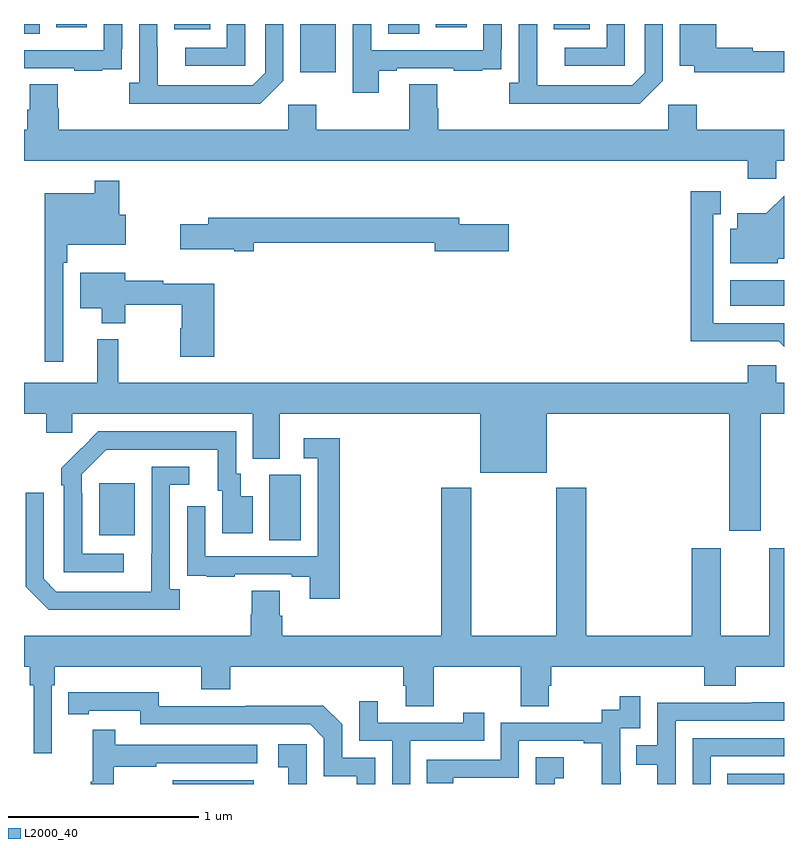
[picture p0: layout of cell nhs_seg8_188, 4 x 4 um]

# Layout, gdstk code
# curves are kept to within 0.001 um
import gdstk
lib = gdstk.Library(unit=1e-6, precision=1e-09)
def R(c, l, rs):  # rectangles x0, y0, x1, y1
    for r in rs: c.add(gdstk.rectangle(r[:2], r[2:], *l))
def P(c, l, *ps):  # polygons
    for p in ps: c.add(gdstk.Polygon(p, *l))
L2000_40 = (2000, 40)

nhs_seg8_188 = lib.new_cell('nhs_seg8_188')
R(nhs_seg8_188, L2000_40, [(123.783,1099.9,124.21,1099.921), (126.7,1099.9,127,1099.954), (124.292,1101.184,124.456,1101.528), (123.395,1101.209,123.583,1101.484), (126.716,1102.418,127,1102.552), (123,1103.848,123.082,1103.9), (124.916,1103.848,125.08,1103.9), (123.791,1103.873,123.979,1103.9), (125.789,1103.873,125.977,1103.9), (123.17,1103.883,123.331,1103.9), (125.168,1103.883,125.329,1103.9)])
P(nhs_seg8_188, L2000_40, [(126.363,1103.601),(126.363,1103.9),(126.267,1103.9),(126.267,1103.643),(126.201,1103.577),(125.701,1103.577),(125.7,1103.9),(125.604,1103.9),(125.604,1103.59),(125.553,1103.59),(125.553,1103.48),(126.242,1103.48)],
  [(124.164,1103.9),(124.068,1103.9),(124.068,1103.775),(123.849,1103.775),(123.849,1103.679),(124.164,1103.679)],
  [(127,1103.756),(126.836,1103.756),(126.836,1103.774),(126.644,1103.774),(126.644,1103.9),(126.452,1103.9),(126.452,1103.681),(126.528,1103.681),(126.528,1103.646),(127,1103.646)],
  [(124.642,1103.885),(124.641,1103.885),(124.641,1103.9),(124.454,1103.9),(124.454,1103.645),(124.642,1103.645)],
  [(124.365,1103.601),(124.365,1103.9),(124.269,1103.9),(124.269,1103.643),(124.203,1103.577),(123.703,1103.577),(123.702,1103.9),(123.606,1103.9),(123.606,1103.59),(123.555,1103.59),(123.555,1103.48),(124.244,1103.48)],
  [(123.413,1103.661),(123.515,1103.661),(123.515,1103.77),(123.516,1103.77),(123.516,1103.9),(123.42,1103.9),(123.42,1103.763),(123,1103.763),(123,1103.667),(123.265,1103.667),(123.265,1103.655),(123.413,1103.655)],
  [(124.867,1103.655),(124.963,1103.655),(124.963,1103.667),(125.263,1103.667),(125.263,1103.655),(125.411,1103.655),(125.411,1103.661),(125.513,1103.661),(125.513,1103.77),(125.514,1103.77),(125.514,1103.9),(125.418,1103.9),(125.418,1103.763),(124.827,1103.763),(124.827,1103.9),(124.731,1103.9),(124.731,1103.538),(124.867,1103.538)],
  [(126.162,1103.9),(126.066,1103.9),(126.066,1103.775),(125.847,1103.775),(125.847,1103.679),(126.162,1103.679)],
  [(126.96,1103.18),(127,1103.18),(127,1103.344),(126.542,1103.344),(126.542,1103.476),(126.39,1103.476),(126.39,1103.344),(125.18,1103.344),(125.18,1103.457),(125.175,1103.457),(125.175,1103.582),(125.027,1103.582),(125.027,1103.344),(124.539,1103.344),(124.539,1103.476),(124.392,1103.476),(124.392,1103.344),(123.182,1103.344),(123.182,1103.457),(123.177,1103.457),(123.177,1103.582),(123.029,1103.582),(123.029,1103.45),(123.017,1103.45),(123.017,1103.344),(123,1103.344),(123,1103.18),(126.809,1103.18),(126.809,1103.085),(126.96,1103.085)],
  [(123.207,1102.643),(123.227,1102.643),(123.227,1102.739),(123.535,1102.739),(123.535,1102.897),(123.5,1102.897),(123.5,1103.074),(123.372,1103.074),(123.372,1103.008),(123.11,1103.008),(123.11,1102.122),(123.207,1102.122)],
  [(127,1102.326),(126.628,1102.326),(126.628,1102.899),(126.667,1102.899),(126.667,1103.02),(126.51,1103.02),(126.51,1102.229),(126.75,1102.229),(126.75,1102.23),(126.972,1102.23),(127,1102.202)],
  [(126.966,1102.664),(127,1102.664),(127,1102.995),(126.907,1102.903),(126.755,1102.903),(126.755,1102.822),(126.716,1102.822),(126.716,1102.64),(126.966,1102.64)],
  [(124.21,1102.75),(125.162,1102.75),(125.162,1102.703),(125.551,1102.703),(125.551,1102.845),(125.29,1102.845),(125.29,1102.879),(123.971,1102.879),(123.971,1102.845),(123.822,1102.845),(123.822,1102.715),(124.106,1102.715),(124.106,1102.703),(124.21,1102.703)],
  [(124.001,1102.532),(123.734,1102.532),(123.734,1102.55),(123.532,1102.55),(123.532,1102.591),(123.296,1102.591),(123.296,1102.403),(123.41,1102.403),(123.41,1102.325),(123.532,1102.325),(123.532,1102.422),(123.83,1102.422),(123.83,1102.299),(123.823,1102.299),(123.823,1102.149),(124.001,1102.149)],
  [(126.877,1101.848),(127,1101.848),(127,1102.012),(126.96,1102.012),(126.96,1102.105),(126.809,1102.105),(126.809,1102.012),(123.496,1102.012),(123.496,1102.24),(123.386,1102.24),(123.386,1102.012),(123,1102.012),(123,1101.848),(123.116,1101.848),(123.116,1101.75),(123.255,1101.75),(123.255,1101.848),(124.205,1101.848),(124.205,1101.613),(124.345,1101.613),(124.345,1101.848),(125.402,1101.848),(125.402,1101.539),(125.752,1101.539),(125.752,1101.848),(126.713,1101.848),(126.713,1101.234),(126.877,1101.234)],
  [(123.526,1101.111),(123.306,1101.111),(123.306,1101.431),(123.303,1101.431),(123.303,1101.531),(123.432,1101.66),(124.019,1101.66),(124.019,1101.444),(124.043,1101.444),(124.043,1101.219),(124.204,1101.219),(124.204,1101.415),(124.141,1101.415),(124.141,1101.534),(124.116,1101.534),(124.116,1101.756),(123.392,1101.756),(123.195,1101.561),(123.195,1101.473),(123.21,1101.473),(123.21,1101.015),(123.526,1101.015)],
  [(124.661,1101.721),(124.473,1101.721),(124.473,1101.615),(124.545,1101.615),(124.545,1101.099),(123.954,1101.099),(123.954,1101.361),(123.858,1101.361),(123.858,1101.106),(123.859,1101.106),(123.859,1100.997),(123.961,1100.997),(123.961,1100.991),(124.109,1100.991),(124.109,1101.003),(124.409,1101.003),(124.409,1100.991),(124.505,1100.991),(124.505,1100.874),(124.661,1100.874)],
  [(123.82,1100.926),(123.768,1100.926),(123.768,1101.474),(123.871,1101.474),(123.871,1101.57),(123.672,1101.57),(123.671,1100.913),(123.171,1100.913),(123.105,1100.979),(123.105,1101.433),(123.009,1101.433),(123.009,1100.937),(123.13,1100.816),(123.82,1100.816)],
  [(123,1100.516),(123.031,1100.516),(123.031,1100.42),(123.05,1100.42),(123.05,1100.061),(123.147,1100.061),(123.147,1100.42),(123.161,1100.42),(123.161,1100.516),(123.932,1100.516),(123.932,1100.399),(124.085,1100.399),(124.085,1100.516),(124.997,1100.516),(124.997,1100.418),(125.009,1100.418),(125.009,1100.308),(125.157,1100.308),(125.157,1100.516),(125.614,1100.516),(125.614,1100.308),(125.761,1100.308),(125.761,1100.418),(125.774,1100.418),(125.774,1100.516),(126.581,1100.516),(126.581,1100.417),(126.746,1100.417),(126.746,1100.516),(127,1100.516),(127,1101.142),(126.923,1101.142),(126.923,1100.68),(126.667,1100.68),(126.667,1101.142),(126.515,1101.142),(126.515,1100.68),(125.96,1100.68),(125.96,1101.46),(125.8,1101.46),(125.8,1100.68),(125.355,1100.68),(125.355,1101.46),(125.195,1101.46),(125.195,1100.68),(124.358,1100.68),(124.358,1100.786),(124.345,1100.786),(124.345,1100.918),(124.198,1100.918),(124.198,1100.793),(124.193,1100.793),(124.193,1100.68),(123,1100.68)],
  [(124.848,1100.037),(124.674,1100.037),(124.674,1100.214),(124.576,1100.312),(124.168,1100.312),(124.168,1100.31),(123.708,1100.31),(123.708,1100.383),(123.232,1100.382),(123.232,1100.266),(123.34,1100.266),(123.34,1100.286),(123.612,1100.286),(123.612,1100.214),(124.506,1100.214),(124.578,1100.142),(124.578,1099.941),(124.751,1099.941),(124.751,1099.9),(124.848,1099.9)],
  [(126.14,1099.964),(126.138,1099.964),(126.138,1100.193),(126.243,1100.193),(126.243,1100.362),(126.135,1100.362),(126.135,1100.292),(126.042,1100.292),(126.042,1100.223),(125.508,1100.223),(125.508,1100.028),(125.119,1100.028),(125.119,1099.905),(125.259,1099.905),(125.259,1099.932),(125.604,1099.932),(125.604,1100.127),(125.945,1100.127),(125.945,1100.115),(126.041,1100.115),(126.041,1099.9),(126.14,1099.9)],
  [(125.034,1100.127),(125.423,1100.127),(125.423,1100.275),(125.312,1100.275),(125.312,1100.223),(124.861,1100.223),(124.861,1100.335),(124.764,1100.335),(124.764,1100.127),(124.938,1100.127),(124.938,1099.9),(125.034,1099.9)],
  [(126.429,1100.232),(127,1100.232),(127,1100.33),(126.829,1100.33),(126.829,1100.328),(126.333,1100.328),(126.333,1100.103),(126.223,1100.103),(126.223,1100.002),(126.333,1100.002),(126.333,1099.9),(126.429,1099.9)],
  [(123.472,1099.99),(123.695,1099.99),(123.695,1100.01),(124.228,1100.01),(124.228,1100.106),(123.479,1100.106),(123.479,1100.185),(123.362,1100.185),(123.362,1099.913),(123.351,1099.913),(123.351,1099.9),(123.472,1099.9)],
  [(126.615,1100.046),(127,1100.046),(127,1100.142),(126.519,1100.142),(126.519,1099.9),(126.615,1099.9)],
  [(124.488,1100.11),(124.338,1100.11),(124.338,1099.989),(124.391,1099.989),(124.391,1099.9),(124.488,1099.9)],
  [(125.793,1099.931),(125.842,1099.931),(125.842,1100.041),(125.694,1100.041),(125.694,1099.9),(125.793,1099.9)])

lib.write_gds('nhs_seg8_188.gds')
